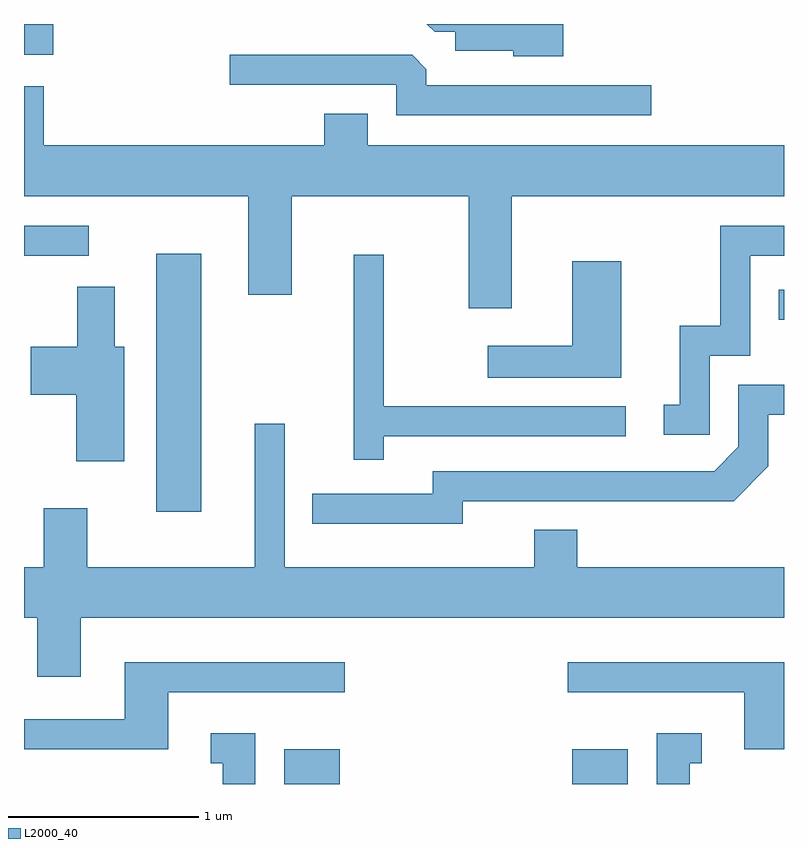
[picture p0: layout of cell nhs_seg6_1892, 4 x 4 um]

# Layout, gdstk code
import gdstk
lib = gdstk.Library(unit=1e-6, precision=1e-09)
def R(c, l, rs):  # rectangles x0, y0, x1, y1
    for r in rs: c.add(gdstk.rectangle(r[:2], r[2:], *l))
def P(c, l, *ps):  # polygons
    for p in ps: c.add(gdstk.Polygon(p, *l))
L2000_40 = (2000, 40)

nhs_seg6_1892 = lib.new_cell('nhs_seg6_1892')
R(nhs_seg6_1892, L2000_40, [(242.981,1660.162,243.274,1660.344), (244.496,1660.162,244.789,1660.344), (242.306,1661.596,242.544,1662.954), (245.583,1662.606,245.611,1662.764), (241.611,1662.941,241.953,1663.099), (241.611,1664.001,241.764,1664.162)])
P(nhs_seg6_1892, L2000_40, [(244.449,1664.162),(243.731,1664.162),(243.772,1664.121),(243.881,1664.121),(243.881,1664.021),(244.186,1664.021),(244.186,1663.991),(244.449,1663.991)],
  [(244.913,1663.839),(243.729,1663.839),(243.729,1663.924),(243.654,1663.999),(242.693,1663.999),(242.693,1663.841),(243.571,1663.841),(243.571,1663.681),(244.913,1663.681)],
  [(244.179,1663.256),(245.611,1663.256),(245.611,1663.524),(243.419,1663.524),(243.419,1663.689),(243.191,1663.689),(243.191,1663.524),(241.714,1663.524),(241.714,1663.834),(241.611,1663.834),(241.611,1663.256),(242.791,1663.256),(242.791,1662.736),(243.019,1662.736),(243.019,1663.256),(243.951,1663.256),(243.951,1662.666),(244.179,1662.666)],
  [(245.219,1662.416),(245.434,1662.416),(245.434,1662.941),(245.611,1662.941),(245.611,1663.099),(245.276,1663.099),(245.276,1662.574),(245.061,1662.574),(245.061,1662.159),(244.978,1662.159),(244.978,1662.001),(245.219,1662.001)],
  [(243.504,1661.991),(244.778,1661.991),(244.778,1662.149),(243.504,1662.149),(243.504,1662.948),(243.346,1662.948),(243.346,1661.868),(243.504,1661.868)],
  [(244.754,1662.914),(244.496,1662.914),(244.496,1662.469),(244.053,1662.469),(244.053,1662.301),(244.754,1662.301)],
  [(242.139,1662.464),(242.089,1662.464),(242.089,1662.779),(241.891,1662.779),(241.891,1662.464),(241.646,1662.464),(241.646,1662.211),(241.886,1662.211),(241.886,1661.861),(242.139,1661.861)],
  [(243.919,1661.651),(245.347,1661.651),(245.529,1661.834),(245.529,1662.106),(245.611,1662.106),(245.611,1662.264),(245.371,1662.264),(245.371,1661.937),(245.244,1661.809),(243.761,1661.809),(243.761,1661.689),(243.128,1661.689),(243.128,1661.531),(243.919,1661.531)],
  [(241.716,1661.304),(241.611,1661.304),(241.611,1661.036),(241.681,1661.036),(241.681,1660.726),(241.909,1660.726),(241.909,1661.036),(245.611,1661.036),(245.611,1661.304),(244.524,1661.304),(244.524,1661.499),(244.296,1661.499),(244.296,1661.304),(242.984,1661.304),(242.984,1662.058),(242.826,1662.058),(242.826,1661.304),(241.944,1661.304),(241.944,1661.614),(241.716,1661.614)],
  [(242.369,1660.646),(243.298,1660.646),(243.298,1660.804),(242.141,1660.804),(242.141,1660.504),(241.611,1660.504),(241.611,1660.346),(242.369,1660.346)],
  [(245.611,1660.804),(244.473,1660.804),(244.473,1660.646),(245.401,1660.646),(245.401,1660.346),(245.611,1660.346)],
  [(245.114,1660.271),(245.178,1660.271),(245.178,1660.429),(244.941,1660.429),(244.941,1660.162),(245.114,1660.162)],
  [(242.829,1660.429),(242.593,1660.429),(242.593,1660.271),(242.656,1660.271),(242.656,1660.162),(242.829,1660.162)])

lib.write_gds('nhs_seg6_1892.gds')
